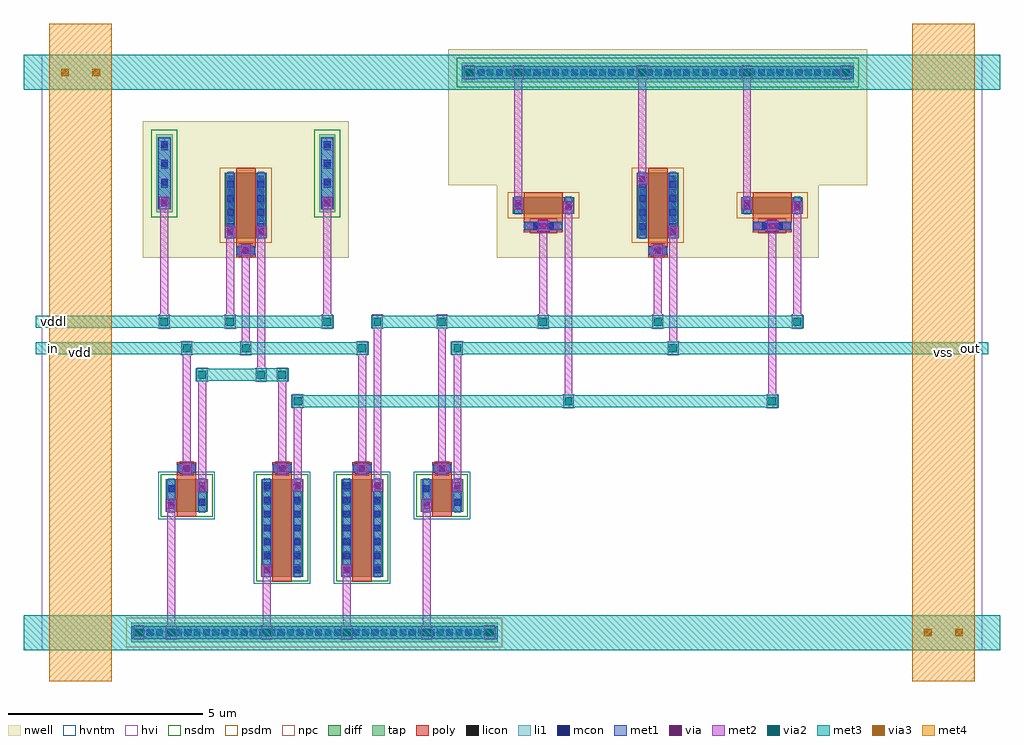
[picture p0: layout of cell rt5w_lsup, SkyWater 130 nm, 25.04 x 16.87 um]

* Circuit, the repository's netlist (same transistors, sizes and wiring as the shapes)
** sch_path: /home/claude/rt5w_sky/tt/xschem/rt5w_lsup.sch
.subckt rt5w_lsup in out vddl vdd vss
*.ipin in
*.opin out
*.iopin vddl
XMip inb in vddl vddl sky130_fd_pr__pfet_g5v0d10v5 L=0.5 W=1.68 nf=1 ad=0.4872 as=0.4872 pd=3.94 ps=3.94 nrd=0.1726 nrs=0.1726
+ sa=0 sb=0 sd=0 mult=1 m=1
XMin inb in vss vss sky130_fd_pr__nfet_g5v0d10v5 L=0.5 W=0.84 nf=1 ad=0.2436 as=0.2436 pd=2.26 ps=2.26 nrd=0.3452 nrs=0.3452 sa=0
+ sb=0 sd=0 mult=1 m=1
XMpa xa xb vdd vdd sky130_fd_pr__pfet_g5v0d10v5 L=1 W=0.42 nf=1 ad=0.1218 as=0.1218 pd=1.42 ps=1.42 nrd=0.6905 nrs=0.6905 sa=0
+ sb=0 sd=0 mult=1 m=1
XMpb xb xa vdd vdd sky130_fd_pr__pfet_g5v0d10v5 L=1 W=0.42 nf=1 ad=0.1218 as=0.1218 pd=1.42 ps=1.42 nrd=0.6905 nrs=0.6905 sa=0
+ sb=0 sd=0 mult=1 m=1
XMna xa in vss vss sky130_fd_pr__nfet_g5v0d10v5 L=0.5 W=2.5 nf=1 ad=0.725 as=0.725 pd=5.58 ps=5.58 nrd=0.116 nrs=0.116 sa=0 sb=0
+ sd=0 mult=1 m=1
XMnb xb inb vss vss sky130_fd_pr__nfet_g5v0d10v5 L=0.5 W=2.5 nf=1 ad=0.725 as=0.725 pd=5.58 ps=5.58 nrd=0.116 nrs=0.116 sa=0 sb=0
+ sd=0 mult=1 m=1
XMop out xa vdd vdd sky130_fd_pr__pfet_g5v0d10v5 L=0.5 W=1.68 nf=1 ad=0.4872 as=0.4872 pd=3.94 ps=3.94 nrd=0.1726 nrs=0.1726 sa=0
+ sb=0 sd=0 mult=1 m=1
XMon out xa vss vss sky130_fd_pr__nfet_g5v0d10v5 L=0.5 W=0.84 nf=1 ad=0.2436 as=0.2436 pd=2.26 ps=2.26 nrd=0.3452 nrs=0.3452 sa=0
+ sb=0 sd=0 mult=1 m=1
.ends
.GLOBAL vdd
.GLOBAL vss
.end

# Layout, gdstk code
import gdstk
lib = gdstk.Library(unit=1e-6, precision=1e-09)
def R(c, l, rs):  # rectangles x0, y0, x1, y1
    for r in rs: c.add(gdstk.rectangle(r[:2], r[2:], *l))
def A(c, l, x, y, w, h, nx, ny, dx, dy):  # array of equal rectangles
    R(c, l, [(x+i*dx, y+j*dy, x+i*dx+w, y+j*dy+h) for i in range(nx) for j in range(ny)])
nwell = (64, 20)
diff = (65, 20)
tap = (65, 44)
poly = (66, 20)
licon = (66, 44)
li1 = (67, 20)
mcon = (67, 44)
met1 = (68, 20)
via = (68, 44)
met2 = (69, 20)
via2 = (69, 44)
met3 = (70, 20)
via3 = (70, 44)
met4 = (71, 20)
hvi = (75, 20)
nsdm = (93, 44)
psdm = (94, 20)
npc = (95, 20)
hvntm = (125, 20)

tap_p = lib.new_cell('tap_p')
R(tap_p, nwell, [(-0.34,-0.34,0.76,2.34)])
R(tap_p, tap, [(0,0,0.42,2)])
A(tap_p, licon, 0.125, 0.155, 0.17, 0.17, 1, 4, 0, 0.48)
R(tap_p, li1, [(0.045,0.075,0.375,1.925)])
A(tap_p, mcon, 0.125, 0.215, 0.17, 0.17, 1, 4, 0, 0.48)
R(tap_p, met1, [(0.05,0.085,0.37,1.915)])
R(tap_p, hvi, [(-0.34,-0.34,0.76,2.34)])
R(tap_p, nsdm, [(-0.125,-0.125,0.545,2.125)])

pfet_w1p68_l0p5_nf1_b_ng = lib.new_cell('pfet_W1p68_L0p5_nf1_b_ng')
R(pfet_w1p68_l0p5_nf1_b_ng, nwell, [(-0.94,-1.16,0.94,1.42), (-0.72,-1.16,0.72,1.33)])
R(pfet_w1p68_l0p5_nf1_b_ng, diff, [(-0.54,-0.66,0.54,1.02)])
R(pfet_w1p68_l0p5_nf1_b_ng, poly, [(-0.25,-1.145,0.25,1.15)])
A(pfet_w1p68_l0p5_nf1_b_ng, licon, -0.48, -0.585, 0.17, 0.17, 1, 5, 0, 0.34)
A(pfet_w1p68_l0p5_nf1_b_ng, licon, 0.31, -0.585, 0.17, 0.17, 1, 5, 0, 0.34)
R(pfet_w1p68_l0p5_nf1_b_ng, licon, [(-0.085,-1.065,0.085,-0.895)])
R(pfet_w1p68_l0p5_nf1_b_ng, li1, [(-0.25,-1.065,0.25,-0.895), (-0.48,-0.68,-0.31,1.04), (0.31,-0.68,0.48,1.04)])
A(pfet_w1p68_l0p5_nf1_b_ng, mcon, -0.48, -0.445, 0.17, 0.17, 1, 4, 0, 0.36)
A(pfet_w1p68_l0p5_nf1_b_ng, mcon, 0.31, -0.445, 0.17, 0.17, 1, 4, 0, 0.36)
R(pfet_w1p68_l0p5_nf1_b_ng, mcon, [(-0.085,-1.065,0.085,-0.895)])
R(pfet_w1p68_l0p5_nf1_b_ng, met1, [(-0.23,-1.095,0.23,-0.865), (-0.51,-0.66,-0.28,1.02), (0.28,-0.66,0.51,1.02)])
R(pfet_w1p68_l0p5_nf1_b_ng, hvi, [(-0.72,-1.16,0.72,-0.845), (-0.725,-0.845,0.725,1.205), (-0.72,1.205,0.72,1.33)])
R(pfet_w1p68_l0p5_nf1_b_ng, psdm, [(-0.665,-0.785,0.665,1.145)])
R(pfet_w1p68_l0p5_nf1_b_ng, npc, [(-0.185,-1.165,0.185,-0.795)])

pfet_w0p42_l1_nf1_b_ng = lib.new_cell('pfet_W0p42_L1_nf1_b_ng')
R(pfet_w0p42_l1_nf1_b_ng, nwell, [(-1.19,-0.53,1.19,0.79), (-0.97,-0.53,0.97,0.7)])
R(pfet_w0p42_l1_nf1_b_ng, diff, [(-0.79,-0.03,0.79,0.39)])
R(pfet_w0p42_l1_nf1_b_ng, poly, [(-0.5,-0.515,0.5,0.52)])
R(pfet_w0p42_l1_nf1_b_ng, licon, [(-0.255,-0.435,-0.085,-0.265), (0.085,-0.435,0.255,-0.265), (-0.73,0.095,-0.56,0.265), (0.56,0.095,0.73,0.265)])
R(pfet_w0p42_l1_nf1_b_ng, li1, [(-0.5,-0.435,0.5,-0.265), (-0.73,-0.05,-0.56,0.41), (0.56,-0.05,0.73,0.41)])
R(pfet_w0p42_l1_nf1_b_ng, mcon, [(-0.265,-0.435,-0.095,-0.265), (0.095,-0.435,0.265,-0.265), (-0.73,0.095,-0.56,0.265), (0.56,0.095,0.73,0.265)])
R(pfet_w0p42_l1_nf1_b_ng, met1, [(-0.48,-0.465,0.48,-0.235), (-0.76,-0.03,-0.53,0.39), (0.53,-0.03,0.76,0.39)])
R(pfet_w0p42_l1_nf1_b_ng, hvi, [(-0.97,-0.53,0.97,-0.24), (-1.395,-0.24,1.395,0.6), (-0.97,0.6,0.97,0.7)])
R(pfet_w0p42_l1_nf1_b_ng, psdm, [(-0.915,-0.155,0.915,0.515)])
R(pfet_w0p42_l1_nf1_b_ng, npc, [(-0.355,-0.535,0.355,-0.165)])

nfet_w0p84_l0p5_nf1_t_ng = lib.new_cell('nfet_W0p84_L0p5_nf1_t_ng')
R(nfet_w0p84_l0p5_nf1_t_ng, diff, [(-0.54,-0.575,0.54,0.265)])
R(nfet_w0p84_l0p5_nf1_t_ng, poly, [(-0.25,-0.705,0.25,0.705)])
R(nfet_w0p84_l0p5_nf1_t_ng, licon, [(-0.48,-0.41,-0.31,-0.24), (0.31,-0.41,0.48,-0.24), (-0.48,-0.07,-0.31,0.1), (0.31,-0.07,0.48,0.1), (-0.085,0.455,0.085,0.625)])
R(nfet_w0p84_l0p5_nf1_t_ng, li1, [(-0.48,-0.595,-0.31,0.285), (0.31,-0.595,0.48,0.285), (-0.25,0.455,0.25,0.625)])
R(nfet_w0p84_l0p5_nf1_t_ng, mcon, [(-0.48,-0.42,-0.31,-0.25), (0.31,-0.42,0.48,-0.25), (-0.48,-0.06,-0.31,0.11), (0.31,-0.06,0.48,0.11), (-0.085,0.455,0.085,0.625)])
R(nfet_w0p84_l0p5_nf1_t_ng, met1, [(-0.51,-0.575,-0.28,0.265), (0.28,-0.575,0.51,0.265), (-0.23,0.425,0.23,0.655)])
R(nfet_w0p84_l0p5_nf1_t_ng, hvi, [(-0.725,-0.76,0.725,0.45)])
R(nfet_w0p84_l0p5_nf1_t_ng, nsdm, [(-0.665,-0.7,0.665,0.39)])
R(nfet_w0p84_l0p5_nf1_t_ng, npc, [(-0.185,0.355,0.185,0.725)])
R(nfet_w0p84_l0p5_nf1_t_ng, hvntm, [(-0.725,-0.76,0.725,0.45)])

nfet_w2p5_l0p5_nf1_t_ng = lib.new_cell('nfet_W2p5_L0p5_nf1_t_ng')
R(nfet_w2p5_l0p5_nf1_t_ng, diff, [(-0.54,-1.405,0.54,1.095)])
R(nfet_w2p5_l0p5_nf1_t_ng, poly, [(-0.25,-1.535,0.25,1.535)])
A(nfet_w2p5_l0p5_nf1_t_ng, licon, -0.48, -1.26, 0.17, 0.17, 1, 7, 0, 0.34)
A(nfet_w2p5_l0p5_nf1_t_ng, licon, 0.31, -1.26, 0.17, 0.17, 1, 7, 0, 0.34)
R(nfet_w2p5_l0p5_nf1_t_ng, licon, [(-0.085,1.285,0.085,1.455)])
R(nfet_w2p5_l0p5_nf1_t_ng, li1, [(-0.48,-1.425,-0.31,1.115), (0.31,-1.425,0.48,1.115), (-0.25,1.285,0.25,1.455)])
A(nfet_w2p5_l0p5_nf1_t_ng, mcon, -0.48, -1.32, 0.17, 0.17, 1, 7, 0, 0.36)
A(nfet_w2p5_l0p5_nf1_t_ng, mcon, 0.31, -1.32, 0.17, 0.17, 1, 7, 0, 0.36)
R(nfet_w2p5_l0p5_nf1_t_ng, mcon, [(-0.085,1.285,0.085,1.455)])
R(nfet_w2p5_l0p5_nf1_t_ng, met1, [(-0.51,-1.405,-0.28,1.095), (0.28,-1.405,0.51,1.095), (-0.23,1.255,0.23,1.485)])
R(nfet_w2p5_l0p5_nf1_t_ng, hvi, [(-0.725,-1.59,0.725,1.28)])
R(nfet_w2p5_l0p5_nf1_t_ng, nsdm, [(-0.665,-1.53,0.665,1.22)])
R(nfet_w2p5_l0p5_nf1_t_ng, npc, [(-0.185,1.185,0.185,1.555)])
R(nfet_w2p5_l0p5_nf1_t_ng, hvntm, [(-0.725,-1.59,0.725,1.28)])

rt5w_lsup = lib.new_cell('rt5w_lsup')
R(rt5w_lsup, nwell, [(0,-5.2,5.28,-1.7), (9.085,-5.2,17.335,-2.62), (7.84,-3.35,18.58,-0.45), (7.84,-1.04,18.58,0.14)])
R(rt5w_lsup, tap, [(-0.3,-15.07,9.1,-14.57), (8.18,-0.7,18.24,-0.2)])
A(rt5w_lsup, licon, -0.135, -14.905, 0.17, 0.17, 19, 1, 0.48, 0)
A(rt5w_lsup, licon, 8.345, -0.535, 0.17, 0.17, 20, 1, 0.48, 0)
R(rt5w_lsup, li1, [(-0.255,-14.985,9.055,-14.655), (8.225,-0.615,18.195,-0.285)])
A(rt5w_lsup, mcon, 0.105, -14.905, 0.17, 0.17, 19, 1, 0.48, 0)
A(rt5w_lsup, mcon, 8.585, -0.535, 0.17, 0.17, 20, 1, 0.48, 0)
A(rt5w_lsup, met1, 3.84, -11.205, 0.26, 0.32, 3, 1, 2.05, 0)
A(rt5w_lsup, met1, 3.415, -10.74, 0.32, 0.26, 3, 1, 2.05, 0)
R(rt5w_lsup, met1, [(-0.3,-14.985,9.1,-14.655), (-0.26,-14.95,0.06,-14.69), (8.74,-14.95,9.06,-14.69), (3.05,-13.385,3.31,-13.065), (5.1,-13.385,5.36,-13.065), (0.6,-11.725,0.86,-11.405), (7.15,-11.725,7.41,-11.405), (1.39,-11.205,1.65,-10.885), (0.965,-10.74,1.285,-10.48), (2.48,-5.15,2.8,-4.89), (13.05,-5.15,13.37,-4.89), (2.115,-4.7,2.375,-4.38), (2.905,-4.7,3.165,-4.38), (13.475,-4.7,13.735,-4.38), (10.115,-4.52,10.435,-4.26), (15.985,-4.52,16.305,-4.26), (10.79,-4.07,11.05,-3.75), (16.66,-4.07,16.92,-3.75), (9.5,-3.97,9.76,-3.65), (15.37,-3.97,15.63,-3.65), (0.42,-3.955,0.68,-3.635), (4.6,-3.955,4.86,-3.635), (12.685,-3.34,12.945,-3.02), (8.18,-0.615,18.24,-0.285), (8.22,-0.58,8.54,-0.32), (17.88,-0.58,18.2,-0.32)])
A(rt5w_lsup, via, 3.895, -11.12, 0.15, 0.15, 3, 1, 2.05, 0)
A(rt5w_lsup, via, 3.5, -10.685, 0.15, 0.15, 3, 1, 2.05, 0)
R(rt5w_lsup, via, [(-0.175,-14.895,-0.025,-14.745), (8.825,-14.895,8.975,-14.745), (3.105,-13.3,3.255,-13.15), (5.155,-13.3,5.305,-13.15), (0.655,-11.64,0.805,-11.49), (7.205,-11.64,7.355,-11.49), (1.445,-11.12,1.595,-10.97), (1.05,-10.685,1.2,-10.535), (2.565,-5.095,2.715,-4.945), (13.135,-5.095,13.285,-4.945), (2.17,-4.615,2.32,-4.465), (2.96,-4.615,3.11,-4.465), (13.53,-4.615,13.68,-4.465), (10.2,-4.465,10.35,-4.315), (16.07,-4.465,16.22,-4.315), (10.845,-3.985,10.995,-3.835), (16.715,-3.985,16.865,-3.835), (9.555,-3.885,9.705,-3.735), (15.425,-3.885,15.575,-3.735), (0.475,-3.87,0.625,-3.72), (4.655,-3.87,4.805,-3.72), (12.74,-3.255,12.89,-3.105), (8.305,-0.525,8.455,-0.375), (17.965,-0.525,18.115,-0.375)])
A(rt5w_lsup, met2, 3.04, -15.005, 0.28, 0.37, 3, 1, 2.05, 0)
A(rt5w_lsup, met2, 3.84, -11.205, 0.26, 0.32, 3, 1, 2.05, 0)
A(rt5w_lsup, met2, 3.445, -10.77, 0.26, 0.32, 3, 1, 2.05, 0)
R(rt5w_lsup, met2, [(-0.24,-15.005,0.04,-14.635), (0.59,-15.005,0.87,-14.635), (8.76,-15.005,9.04,-14.635), (-0.23,-14.98,0.03,-14.66), (8.77,-14.98,9.03,-14.66), (0.63,-14.92,0.83,-11.465), (3.08,-14.92,3.28,-13.125), (5.13,-14.92,5.33,-13.125), (7.18,-14.92,7.38,-11.465), (3.05,-13.385,3.31,-13.065), (5.1,-13.385,5.36,-13.065), (0.6,-11.725,0.86,-11.405), (7.15,-11.725,7.41,-11.405), (1.39,-11.205,1.65,-10.885), (1.42,-11.145,1.62,-8.105), (3.87,-11.145,4.07,-8.785), (5.92,-11.145,6.12,-6.745), (7.97,-11.145,8.17,-7.425), (0.995,-10.77,1.255,-10.45), (1.025,-10.71,1.225,-7.425), (3.475,-10.71,3.675,-8.105), (5.525,-10.71,5.725,-7.425), (7.575,-10.71,7.775,-6.745), (3.83,-9.07,4.11,-8.7), (10.78,-9.07,11.06,-8.7), (16.005,-9.07,16.285,-8.7), (10.82,-8.985,11.02,-3.81), (16.045,-8.985,16.245,-4.29), (1.38,-8.39,1.66,-8.02), (2.895,-8.39,3.175,-8.02), (3.435,-8.39,3.715,-8.02), (2.935,-8.305,3.135,-4.44), (0.985,-7.71,1.265,-7.34), (2.5,-7.71,2.78,-7.34), (5.485,-7.71,5.765,-7.34), (7.93,-7.71,8.21,-7.34), (13.465,-7.71,13.745,-7.34), (2.54,-7.625,2.74,-4.92), (13.505,-7.625,13.705,-4.44), (0.41,-7.03,0.69,-6.66), (2.105,-7.03,2.385,-6.66), (4.59,-7.03,4.87,-6.66), (5.88,-7.03,6.16,-6.66), (7.535,-7.03,7.815,-6.66), (10.135,-7.03,10.415,-6.66), (13.07,-7.03,13.35,-6.66), (16.65,-7.03,16.93,-6.66), (0.45,-6.945,0.65,-3.695), (2.145,-6.945,2.345,-4.44), (4.63,-6.945,4.83,-3.695), (10.175,-6.945,10.375,-4.29), (13.11,-6.945,13.31,-4.92), (16.69,-6.945,16.89,-3.81), (2.51,-5.18,2.77,-4.86), (13.08,-5.18,13.34,-4.86), (2.115,-4.7,2.375,-4.38), (2.905,-4.7,3.165,-4.38), (13.475,-4.7,13.735,-4.38), (10.145,-4.55,10.405,-4.23), (16.015,-4.55,16.275,-4.23), (10.79,-4.07,11.05,-3.75), (16.66,-4.07,16.92,-3.75), (9.5,-3.97,9.76,-3.65), (15.37,-3.97,15.63,-3.65), (0.42,-3.955,0.68,-3.635), (4.6,-3.955,4.86,-3.635), (9.53,-3.91,9.73,-0.35), (15.4,-3.91,15.6,-0.35), (12.685,-3.34,12.945,-3.02), (12.715,-3.28,12.915,-0.35), (8.24,-0.635,8.52,-0.265), (9.49,-0.635,9.77,-0.265), (12.675,-0.635,12.955,-0.265), (15.36,-0.635,15.64,-0.265), (17.9,-0.635,18.18,-0.265), (8.25,-0.61,8.51,-0.29), (17.91,-0.61,18.17,-0.29)])
A(rt5w_lsup, via2, 3.08, -14.92, 0.2, 0.2, 3, 1, 2.05, 0)
R(rt5w_lsup, via2, [(-0.2,-14.92,0,-14.72), (0.63,-14.92,0.83,-14.72), (8.8,-14.92,9,-14.72), (3.87,-8.985,4.07,-8.785), (10.82,-8.985,11.02,-8.785), (16.045,-8.985,16.245,-8.785), (1.42,-8.305,1.62,-8.105), (2.935,-8.305,3.135,-8.105), (3.475,-8.305,3.675,-8.105), (1.025,-7.625,1.225,-7.425), (2.54,-7.625,2.74,-7.425), (5.525,-7.625,5.725,-7.425), (7.97,-7.625,8.17,-7.425), (13.505,-7.625,13.705,-7.425), (0.45,-6.945,0.65,-6.745), (2.145,-6.945,2.345,-6.745), (4.63,-6.945,4.83,-6.745), (5.92,-6.945,6.12,-6.745), (7.575,-6.945,7.775,-6.745), (10.175,-6.945,10.375,-6.745), (13.11,-6.945,13.31,-6.745), (16.69,-6.945,16.89,-6.745), (8.28,-0.55,8.48,-0.35), (9.53,-0.55,9.73,-0.35), (12.715,-0.55,12.915,-0.35), (15.4,-0.55,15.6,-0.35), (17.94,-0.55,18.14,-0.35)])
A(rt5w_lsup, met3, 3.015, -14.985, 0.33, 0.33, 3, 1, 2.05, 0)
R(rt5w_lsup, met3, [(-3.05,-15.27,21.99,-14.37), (-0.265,-14.985,0.065,-14.655), (0.565,-14.985,0.895,-14.655), (8.735,-14.985,9.065,-14.655), (19.945,-14.985,20.335,-14.655), (20.745,-14.985,21.135,-14.655), (3.805,-9.05,4.135,-8.72), (10.755,-9.05,11.085,-8.72), (15.98,-9.05,16.31,-8.72), (3.82,-9.035,16.295,-8.735), (1.355,-8.37,1.685,-8.04), (2.87,-8.37,3.2,-8.04), (3.2,-8.37,3.41,-8.04), (3.41,-8.37,3.74,-8.04), (1.37,-8.355,3.725,-8.055), (0.96,-7.69,1.29,-7.36), (2.475,-7.69,2.805,-7.36), (5.46,-7.69,5.79,-7.36), (7.905,-7.69,8.235,-7.36), (13.44,-7.69,13.77,-7.36), (-2.75,-7.675,5.775,-7.375), (7.92,-7.675,21.69,-7.375), (0.385,-7.01,0.715,-6.68), (2.08,-7.01,2.41,-6.68), (4.565,-7.01,4.895,-6.68), (5.855,-7.01,6.185,-6.68), (7.51,-7.01,7.84,-6.68), (10.11,-7.01,10.44,-6.68), (13.045,-7.01,13.375,-6.68), (16.625,-7.01,16.955,-6.68), (-2.75,-6.995,4.88,-6.695), (5.87,-6.995,16.94,-6.695), (-3.05,-0.9,21.99,0), (-2.195,-0.615,-1.805,-0.285), (-1.395,-0.615,-1.005,-0.285), (8.215,-0.615,8.545,-0.285), (9.465,-0.615,9.795,-0.285), (12.65,-0.615,12.98,-0.285), (15.335,-0.615,15.665,-0.285), (17.875,-0.615,18.205,-0.285)])
R(rt5w_lsup, via3, [(20.04,-14.92,20.24,-14.72), (20.84,-14.92,21.04,-14.72), (-2.1,-0.55,-1.9,-0.35), (-1.3,-0.55,-1.1,-0.35)])
R(rt5w_lsup, met4, [(-2.4,-16.07,-0.8,0.8), (19.74,-16.07,21.34,0.8), (19.89,-15.07,20.39,-14.57), (20.69,-15.07,21.19,-14.57), (-2.25,-0.7,-1.75,-0.2), (-1.45,-0.7,-0.95,-0.2)])
R(rt5w_lsup, hvi, [(-2.6,-15.27,21.54,0)])
R(rt5w_lsup, nsdm, [(8.055,-0.825,18.365,-0.075)])
R(rt5w_lsup, psdm, [(-0.425,-15.195,9.225,-14.445)])
rt5w_lsup.add(gdstk.Reference(tap_p, (0.34,-4.04)))
rt5w_lsup.add(gdstk.Reference(pfet_w1p68_l0p5_nf1_b_ng, (2.64,-4.04)))
rt5w_lsup.add(gdstk.Reference(tap_p, (4.52,-4.04)))
rt5w_lsup.add(gdstk.Reference(pfet_w0p42_l1_nf1_b_ng, (10.275,-4.04)))
rt5w_lsup.add(gdstk.Reference(pfet_w1p68_l0p5_nf1_b_ng, (13.21,-4.04)))
rt5w_lsup.add(gdstk.Reference(pfet_w0p42_l1_nf1_b_ng, (16.145,-4.04)))
rt5w_lsup.add(gdstk.Reference(nfet_w0p84_l0p5_nf1_t_ng, (1.125,-11.15)))
rt5w_lsup.add(gdstk.Reference(nfet_w2p5_l0p5_nf1_t_ng, (3.575,-11.98)))
rt5w_lsup.add(gdstk.Reference(nfet_w2p5_l0p5_nf1_t_ng, (5.625,-11.98)))
rt5w_lsup.add(gdstk.Reference(nfet_w0p84_l0p5_nf1_t_ng, (7.675,-11.15)))
rt5w_lsup.add(gdstk.Label('vddl', (-2.3,-6.845), layer=70, texttype=5))
rt5w_lsup.add(gdstk.Label('in', (-2.3,-7.525), layer=70, texttype=5))
rt5w_lsup.add(gdstk.Label('out', (21.24,-7.525), layer=70, texttype=5))
rt5w_lsup.add(gdstk.Label('vdd', (-1.6,-7.635), layer=71, texttype=5))
rt5w_lsup.add(gdstk.Label('vss', (20.54,-7.635), layer=71, texttype=5))

lib.write_gds('rt5w_lsup.gds')
